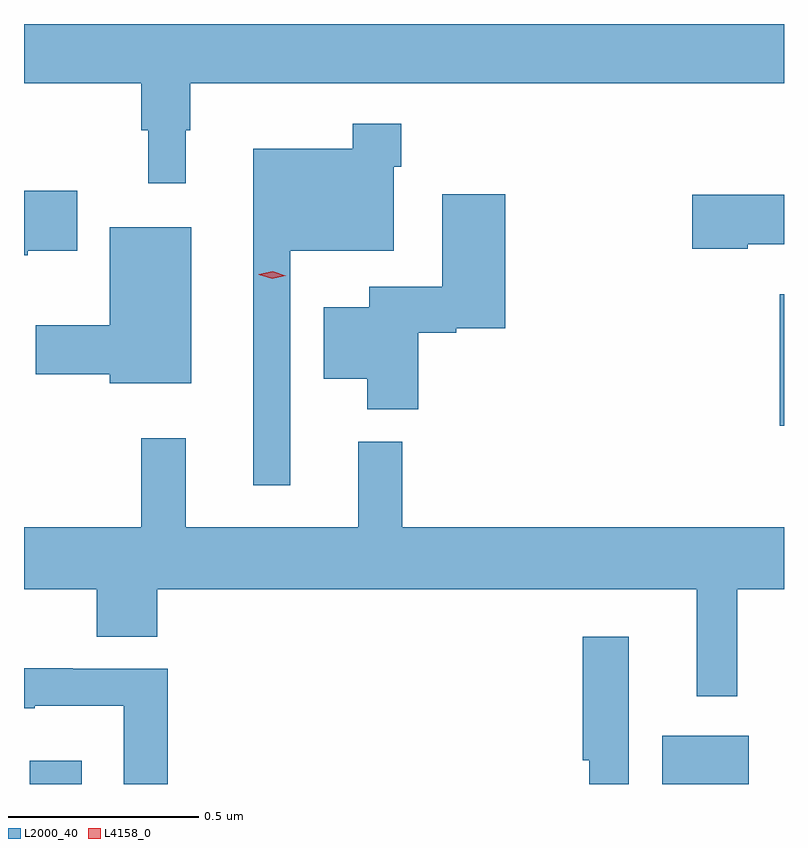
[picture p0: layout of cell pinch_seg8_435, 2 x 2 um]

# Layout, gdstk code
import gdstk
lib = gdstk.Library(unit=1e-6, precision=1e-09)
def R(c, l, rs):  # rectangles x0, y0, x1, y1
    for r in rs: c.add(gdstk.rectangle(r[:2], r[2:], *l))
def P(c, l, *ps):  # polygons
    for p in ps: c.add(gdstk.Polygon(p, *l))
L2000_40 = (2000, 40)
L4158_0 = (4158, 0)

pinch_seg8_435 = lib.new_cell('pinch_seg8_435')
R(pinch_seg8_435, L2000_40, [(245.066,1149.288,245.203,1149.349), (246.731,1149.288,246.958,1149.415), (247.04,1150.231,247.051,1150.577)])
P(pinch_seg8_435, L2000_40, [(245.476,1151.009),(245.488,1151.009),(245.488,1151.132),(247.051,1151.132),(247.051,1151.288),(245.051,1151.288),(245.051,1151.132),(245.359,1151.132),(245.359,1151.009),(245.378,1151.009),(245.378,1150.869),(245.476,1150.869)],
  [(245.751,1150.691),(246.024,1150.691),(246.024,1150.913),(246.044,1150.913),(246.044,1151.026),(245.916,1151.026),(245.916,1150.96),(245.654,1150.96),(245.654,1150.074),(245.751,1150.074)],
  [(245.061,1150.691),(245.191,1150.691),(245.191,1150.849),(245.051,1150.849),(245.051,1150.679),(245.061,1150.679)],
  [(246.089,1150.475),(246.189,1150.475),(246.189,1150.487),(246.318,1150.487),(246.318,1150.84),(246.152,1150.84),(246.152,1150.597),(245.96,1150.597),(245.96,1150.543),(245.84,1150.543),(245.84,1150.355),(245.954,1150.355),(245.954,1150.274),(246.089,1150.274)],
  [(246.956,1150.709),(247.051,1150.709),(247.051,1150.839),(246.81,1150.839),(246.81,1150.697),(246.956,1150.697)],
  [(245.491,1150.753),(245.276,1150.753),(245.276,1150.495),(245.082,1150.495),(245.082,1150.366),(245.276,1150.366),(245.276,1150.343),(245.491,1150.343)],
  [(246.928,1149.8),(247.051,1149.8),(247.051,1149.964),(246.047,1149.964),(246.047,1150.189),(245.93,1150.189),(245.93,1149.964),(245.477,1149.964),(245.477,1150.198),(245.359,1150.198),(245.359,1149.964),(245.051,1149.964),(245.051,1149.8),(245.242,1149.8),(245.242,1149.676),(245.402,1149.676),(245.402,1149.8),(246.821,1149.8),(246.821,1149.519),(246.928,1149.519)],
  [(246.643,1149.676),(246.522,1149.676),(246.522,1149.351),(246.539,1149.351),(246.539,1149.288),(246.643,1149.288)],
  [(245.429,1149.591),(245.179,1149.591),(245.179,1149.593),(245.051,1149.593),(245.051,1149.488),(245.079,1149.488),(245.079,1149.494),(245.313,1149.494),(245.313,1149.288),(245.429,1149.288)])
P(pinch_seg8_435, L4158_0, [(245.704,1150.617),(245.669,1150.628),(245.669,1150.629),(245.669,1150.629),(245.705,1150.637),(245.74,1150.626),(245.74,1150.626),(245.74,1150.625)])

lib.write_gds('pinch_seg8_435.gds')
